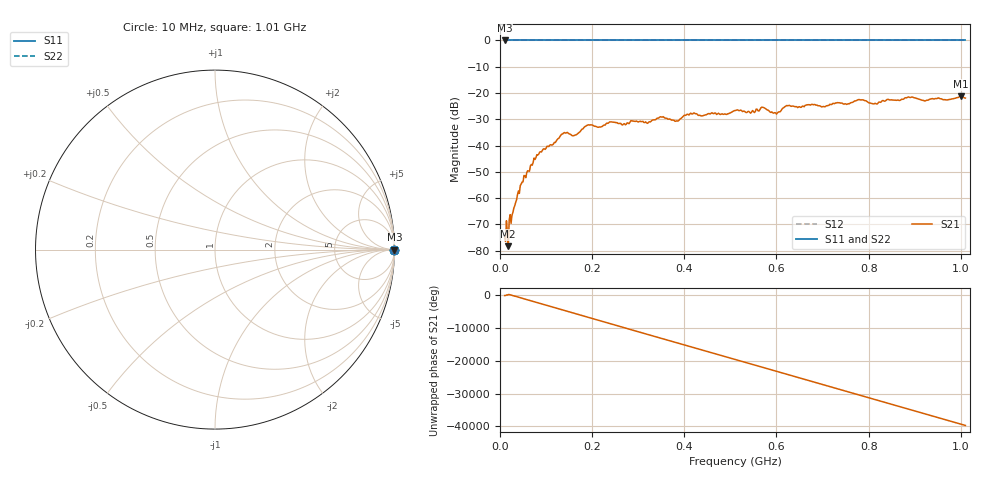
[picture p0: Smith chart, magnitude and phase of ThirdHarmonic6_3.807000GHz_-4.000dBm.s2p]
! 8/17/2025 1:11:01 PM
! C:\ANRITSUVNA\TEMP\TEMP.S2P
! CHANNEL.1
! TR.MEASUREMENT
! RAW.DATA
! RF.CORRECTION.OFF
! AVERAGING.OFF
! IF.BANDWIDTH: 5KHZ
! SWEEPTYPE:  FREQ.SWEEP(Linear)
! Reference Plane Port Info
! PORT:  PORT1  PORT2
! DISTANCE:  0  m  0  m
! TIME:  0  s  0  s
! PHASE.OFFSET:  0  deg.  0  deg.
! LOSS:  0  dB  0  dB
! REF.LOSS:  0  dB  0  dB
! REF.FREQ:  0  Hz  0  Hz
! Power Info
! POWER:  -20  dBm  -20  dBm
! EFF.POWER:  -20  dBm  -20  dBm
! SOURCE.ATTEN:  0  dB  0  dB
! TEST.ATTEN:  0  dB  0  dB
# GHZ S RI R 50.0
! FREQ.GHZ  S11RE  S11IM  S21RE  S21IM  S12RE  S12IM  S22RE  S22IM
!; PortSelection: Port_12
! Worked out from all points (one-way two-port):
!   501 points, 10 MHz to 1.01 GHz, reference 50 ohm
!   highest |S21| = -21.27 dB at 1 GHz (marker M1); lowest = -78.3 dB at 18 MHz (marker M2)
!   lowest |S11| = 0.0 dB at 10 MHz (marker M3)
!   |S11| at or under -10 dB: nowhere
!   |S22| runs from 0.0 to 0.0 dB; largest |S21 - S12| = 1.1
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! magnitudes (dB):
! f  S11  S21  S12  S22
! 10 MHz  0.0  -74.8  0.0  0.0
! 14 MHz  0.0  -68.6  0.0  0.0
! 18 MHz  0.0  -78.3  0.0  0.0
! 20 MHz  0.0  -68.3  0.0  0.0
! 24 MHz  0.0  -69.6  0.0  0.0
! 48 MHz  0.0  -53.9  0.0  0.0
! 78 MHz  0.0  -44.6  0.0  0.0
! 136 MHz  0.0  -35.6  0.0  0.0
! 162 MHz  0.0  -36.1  0.0  0.0
! 178 MHz  0.0  -33.7  0.0  0.0
! 192 MHz  0.0  -32.1  0.0  0.0
! 344 MHz  0.0  -29.6  0.0  0.0
! 384 MHz  0.0  -30.6  0.0  0.0
! 416 MHz  0.0  -28.0  0.0  0.0
! 510 MHz  0.0  -26.7  0.0  0.0
! 570 MHz  0.0  -25.4  0.0  0.0
! 598 MHz  0.0  -27.6  0.0  0.0
! 624 MHz  0.0  -24.8  0.0  0.0
! 678 MHz  0.0  -24.3  0.0  0.0
! 844 MHz  0.0  -22.5  0.0  0.0
! 1 GHz  0.0  -21.3  0.0  0.0
! 1.01 GHz  0.0  -21.9  0.0  0.0
